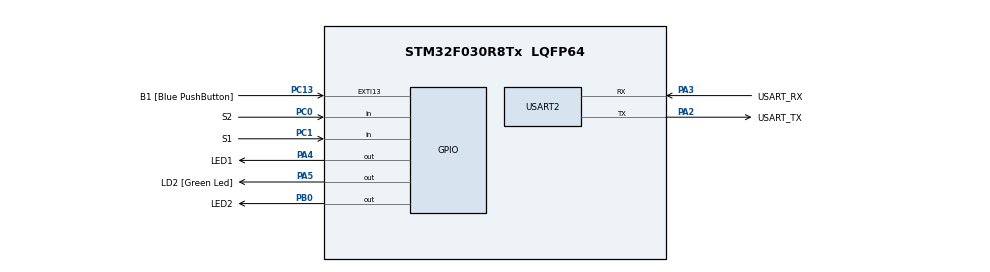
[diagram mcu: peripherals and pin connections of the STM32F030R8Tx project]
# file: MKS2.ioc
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Mcu.Family=STM32F0
Mcu.Name=STM32F030R8Tx
Mcu.Package=LQFP64
PA13.GPIO_Label=TMS
PA13.Mode=Serial_Wire
PA13.Signal=SYS_SWDIO
PA14.GPIO_Label=TCK
PA14.Mode=Serial_Wire
PA14.Signal=SYS_SWCLK
PA2.GPIO_Label=USART_TX
PA2.GPIO_Mode=GPIO_MODE_AF_PP
PA2.GPIO_PuPd=GPIO_NOPULL
PA2.GPIO_Speed=GPIO_SPEED_FREQ_LOW
PA2.Mode=Asynchronous
PA2.Signal=USART2_TX
PA3.GPIO_Label=USART_RX
PA3.GPIO_Mode=GPIO_MODE_AF_PP
PA3.GPIO_PuPd=GPIO_NOPULL
PA3.GPIO_Speed=GPIO_SPEED_FREQ_LOW
PA3.Mode=Asynchronous
PA3.Signal=USART2_RX
PA4.GPIO_Label=LED1
PA4.Signal=GPIO_Output
PA5.GPIO_Label=LD2 [Green Led]
PA5.GPIO_Mode=GPIO_MODE_OUTPUT_PP
PA5.GPIO_PuPd=GPIO_NOPULL
PA5.GPIO_Speed=GPIO_SPEED_FREQ_LOW
PA5.Signal=GPIO_Output
PB0.GPIO_Label=LED2
PB0.Signal=GPIO_Output
PC0.GPIO_Label=S2
PC0.GPIO_PuPd=GPIO_PULLUP
PC0.Signal=GPIO_Input
PC1.GPIO_Label=S1
PC1.GPIO_PuPd=GPIO_PULLUP
PC1.Signal=GPIO_Input
PC13.GPIO_Label=B1 [Blue PushButton]
PC13.GPIO_ModeDefaultEXTI=GPIO_MODE_IT_FALLING
PC13.Signal=GPXTI13
PC14-OSC32_IN.Mode=LSE-External-Oscillator
PC14-OSC32_IN.Signal=RCC_OSC32_IN
PC15-OSC32_OUT.Mode=LSE-External-Oscillator
PC15-OSC32_OUT.Signal=RCC_OSC32_OUT
PF0-OSC_IN.Mode=HSE-External-Clock-Source
PF0-OSC_IN.Signal=RCC_OSC_IN
PF1-OSC_OUT.Signal=RCC_OSC_OUT
ProjectManager.HeapSize=0x200
ProjectManager.StackSize=0x400
ProjectManager.TargetToolchain=STM32CubeIDE
RCC.AHBFreq_Value=48000000
RCC.APB1Freq_Value=48000000
RCC.APB1TimFreq_Value=48000000
RCC.HCLKFreq_Value=48000000
RCC.PLLMUL=RCC_PLL_MUL12
RCC.SYSCLKFreq_VALUE=48000000
RCC.SYSCLKSource=RCC_SYSCLKSOURCE_PLLCLK
USART2.VirtualMode-Asynchronous=VM_ASYNC
board=NUCLEO-F030R8

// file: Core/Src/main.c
/* USER CODE BEGIN Header */
/**
  ******************************************************************************
  * @file           : main.c
  * @brief          : Main program body
  ******************************************************************************
  * @attention
  *
  * Copyright (c) 2024 STMicroelectronics.
  * All rights reserved.
  *
  * This software is licensed under terms that can be found in the LICENSE file
  * in the root directory of this software component.
  * If no LICENSE file comes with this software, it is provided AS-IS.
  *
  ******************************************************************************
  */
/* USER CODE END Header */
#include "main.h"

/* USER CODE BEGIN PD */
#define BLINK_TIME 300
#define BUTTON_PERIOD 5
#define LED_TIME_SHORT 100
#define LED_TIME_LONG 1000
/* USER CODE END PD */

/* USER CODE BEGIN PV */
volatile uint32_t Tick;
/* USER CODE END PV */

void SystemClock_Config(void);
static void MX_GPIO_Init(void);
static void MX_USART2_UART_Init(void);

/* USER CODE BEGIN 0 */
static void blink(){
  static uint32_t lastBlinkTick;

  if(Tick > lastBlinkTick + BLINK_TIME){
    lastBlinkTick = Tick;
    LL_GPIO_TogglePin(LED1_GPIO_Port, LED1_Pin);
  }
}

static void button(){
  static uint32_t off_time;

  // New debounce
  static uint16_t debounce = 0xFFFF;

    // Periodic debouncing
    debounce <<= 1;
    if (LL_GPIO_IsInputPinSet(S1_GPIO_Port, S1_Pin)) {
        debounce |= 0x0001;
    }

    // Check for debounced rising edge
    if (debounce == 0x7FFF) {
        // Handle debounced rising edge
        // Set a timer to turn off LED2 after a defined time
        off_time = Tick + LED_TIME_LONG;
        LL_GPIO_SetOutputPin(LED2_GPIO_Port, LED2_Pin);
    }

  // Old debounce
  static uint32_t old_s2;
  uint32_t new_s2 = LL_GPIO_IsInputPinSet(S2_GPIO_Port, S2_Pin);

  if(old_s2 && !new_s2){
    off_time = Tick + LED_TIME_SHORT;
    LL_GPIO_SetOutputPin(LED2_GPIO_Port, LED2_Pin);
  }
  old_s2 = new_s2;

  if(Tick > off_time){
    LL_GPIO_ResetOutputPin(LED2_GPIO_Port, LED2_Pin);
  }
}
/* USER CODE END 0 */

int main(void)
{

  /* MCU Configuration--------------------------------------------------------*/

  /* Reset of all peripherals, Initializes the Flash interface and the Systick. */
  LL_APB1_GRP2_EnableClock(LL_APB1_GRP2_PERIPH_SYSCFG);
  LL_APB1_GRP1_EnableClock(LL_APB1_GRP1_PERIPH_PWR);

  /* Configure the system clock */
  SystemClock_Config();

  /* Initialize all configured peripherals */
  MX_GPIO_Init();
  MX_USART2_UART_Init();
  /* USER CODE BEGIN 2 */
  LL_SYSTICK_EnableIT();  // Enable SysTick interrupt
  /* USER CODE END 2 */

  /* Infinite loop */
  /* USER CODE BEGIN WHILE */
  while (1)
  {

    // LED1 blinking function
    blink();

    // Button hanler function with debouncing
    static uint32_t lastButtonTick2;
    if(Tick > lastButtonTick2 + BUTTON_PERIOD){
      lastButtonTick2 = Tick;
      button();
    }

    /* USER CODE END WHILE */

  }
}

void SystemClock_Config(void)
{
  LL_FLASH_SetLatency(LL_FLASH_LATENCY_1);
  while(LL_FLASH_GetLatency() != LL_FLASH_LATENCY_1)
  {
  }
  LL_RCC_HSI_Enable();

   /* Wait till HSI is ready */
  while(LL_RCC_HSI_IsReady() != 1)
  {

  }
  LL_RCC_HSI_SetCalibTrimming(16);
  LL_RCC_PLL_ConfigDomain_SYS(LL_RCC_PLLSOURCE_HSI_DIV_2, LL_RCC_PLL_MUL_12);
  LL_RCC_PLL_Enable();

   /* Wait till PLL is ready */
  while(LL_RCC_PLL_IsReady() != 1)
  {

  }
  LL_RCC_SetAHBPrescaler(LL_RCC_SYSCLK_DIV_1);
  LL_RCC_SetAPB1Prescaler(LL_RCC_APB1_DIV_1);
  LL_RCC_SetSysClkSource(LL_RCC_SYS_CLKSOURCE_PLL);

   /* Wait till System clock is ready */
  while(LL_RCC_GetSysClkSource() != LL_RCC_SYS_CLKSOURCE_STATUS_PLL)
  {

  }
  LL_Init1msTick(48000000);
  LL_SetSystemCoreClock(48000000);
}

static void MX_USART2_UART_Init(void)
{

  LL_USART_InitTypeDef USART_InitStruct = {0};

  LL_GPIO_InitTypeDef GPIO_InitStruct = {0};

  /* Peripheral clock enable */
  LL_APB1_GRP1_EnableClock(LL_APB1_GRP1_PERIPH_USART2);

  LL_AHB1_GRP1_EnableClock(LL_AHB1_GRP1_PERIPH_GPIOA);
  /**USART2 GPIO Configuration
  PA2   ------> USART2_TX
  PA3   ------> USART2_RX
  */
  GPIO_InitStruct.Pin = USART_TX_Pin;
  GPIO_InitStruct.Mode = LL_GPIO_MODE_ALTERNATE;
  GPIO_InitStruct.Speed = LL_GPIO_SPEED_FREQ_LOW;
  GPIO_InitStruct.OutputType = LL_GPIO_OUTPUT_PUSHPULL;
  GPIO_InitStruct.Pull = LL_GPIO_PULL_NO;
  GPIO_InitStruct.Alternate = LL_GPIO_AF_1;
  LL_GPIO_Init(USART_TX_GPIO_Port, &GPIO_InitStruct);

  GPIO_InitStruct.Pin = USART_RX_Pin;
  GPIO_InitStruct.Mode = LL_GPIO_MODE_ALTERNATE;
  GPIO_InitStruct.Speed = LL_GPIO_SPEED_FREQ_LOW;
  GPIO_InitStruct.OutputType = LL_GPIO_OUTPUT_PUSHPULL;
  GPIO_InitStruct.Pull = LL_GPIO_PULL_NO;
  GPIO_InitStruct.Alternate = LL_GPIO_AF_1;
  LL_GPIO_Init(USART_RX_GPIO_Port, &GPIO_InitStruct);

  USART_InitStruct.BaudRate = 38400;
  USART_InitStruct.DataWidth = LL_USART_DATAWIDTH_8B;
  USART_InitStruct.StopBits = LL_USART_STOPBITS_1;
  USART_InitStruct.Parity = LL_USART_PARITY_NONE;
  USART_InitStruct.TransferDirection = LL_USART_DIRECTION_TX_RX;
  USART_InitStruct.HardwareFlowControl = LL_USART_HWCONTROL_NONE;
  USART_InitStruct.OverSampling = LL_USART_OVERSAMPLING_16;
  LL_USART_Init(USART2, &USART_InitStruct);
  LL_USART_DisableIT_CTS(USART2);
  LL_USART_ConfigAsyncMode(USART2);
  LL_USART_Enable(USART2);

}

static void MX_GPIO_Init(void)
{
  LL_EXTI_InitTypeDef EXTI_InitStruct = {0};
  LL_GPIO_InitTypeDef GPIO_InitStruct = {0};

  /* GPIO Ports Clock Enable */
  LL_AHB1_GRP1_EnableClock(LL_AHB1_GRP1_PERIPH_GPIOC);
  LL_AHB1_GRP1_EnableClock(LL_AHB1_GRP1_PERIPH_GPIOF);
  LL_AHB1_GRP1_EnableClock(LL_AHB1_GRP1_PERIPH_GPIOA);
  LL_AHB1_GRP1_EnableClock(LL_AHB1_GRP1_PERIPH_GPIOB);

  /**/
  LL_GPIO_ResetOutputPin(LED1_GPIO_Port, LED1_Pin);

  /**/
  LL_GPIO_ResetOutputPin(LD2_GPIO_Port, LD2_Pin);

  /**/
  LL_GPIO_ResetOutputPin(LED2_GPIO_Port, LED2_Pin);

  /**/
  LL_SYSCFG_SetEXTISource(LL_SYSCFG_EXTI_PORTC, LL_SYSCFG_EXTI_LINE13);

  /**/
  LL_GPIO_SetPinPull(B1_GPIO_Port, B1_Pin, LL_GPIO_PULL_NO);

  /**/
  LL_GPIO_SetPinMode(B1_GPIO_Port, B1_Pin, LL_GPIO_MODE_INPUT);

  /**/
  EXTI_InitStruct.Line_0_31 = LL_EXTI_LINE_13;
  EXTI_InitStruct.LineCommand = ENABLE;
  EXTI_InitStruct.Mode = LL_EXTI_MODE_IT;
  EXTI_InitStruct.Trigger = LL_EXTI_TRIGGER_FALLING;
  LL_EXTI_Init(&EXTI_InitStruct);

  /**/
  GPIO_InitStruct.Pin = S2_Pin;
  GPIO_InitStruct.Mode = LL_GPIO_MODE_INPUT;
  GPIO_InitStruct.Pull = LL_GPIO_PULL_UP;
  LL_GPIO_Init(S2_GPIO_Port, &GPIO_InitStruct);

  /**/
  GPIO_InitStruct.Pin = S1_Pin;
  GPIO_InitStruct.Mode = LL_GPIO_MODE_INPUT;
  GPIO_InitStruct.Pull = LL_GPIO_PULL_UP;
  LL_GPIO_Init(S1_GPIO_Port, &GPIO_InitStruct);

  /**/
  GPIO_InitStruct.Pin = LED1_Pin;
  GPIO_InitStruct.Mode = LL_GPIO_MODE_OUTPUT;
  GPIO_InitStruct.Speed = LL_GPIO_SPEED_FREQ_LOW;
  GPIO_InitStruct.OutputType = LL_GPIO_OUTPUT_PUSHPULL;
  GPIO_InitStruct.Pull = LL_GPIO_PULL_NO;
  LL_GPIO_Init(LED1_GPIO_Port, &GPIO_InitStruct);

  /**/
  GPIO_InitStruct.Pin = LD2_Pin;
  GPIO_InitStruct.Mode = LL_GPIO_MODE_OUTPUT;
  GPIO_InitStruct.Speed = LL_GPIO_SPEED_FREQ_LOW;
  GPIO_InitStruct.OutputType = LL_GPIO_OUTPUT_PUSHPULL;
  GPIO_InitStruct.Pull = LL_GPIO_PULL_NO;
  LL_GPIO_Init(LD2_GPIO_Port, &GPIO_InitStruct);

  /**/
  GPIO_InitStruct.Pin = LED2_Pin;
  GPIO_InitStruct.Mode = LL_GPIO_MODE_OUTPUT;
  GPIO_InitStruct.Speed = LL_GPIO_SPEED_FREQ_LOW;
  GPIO_InitStruct.OutputType = LL_GPIO_OUTPUT_PUSHPULL;
  GPIO_InitStruct.Pull = LL_GPIO_PULL_NO;
  LL_GPIO_Init(LED2_GPIO_Port, &GPIO_InitStruct);

}

void Error_Handler(void)
{
  __disable_irq();
  while (1)
  {
  }
}
